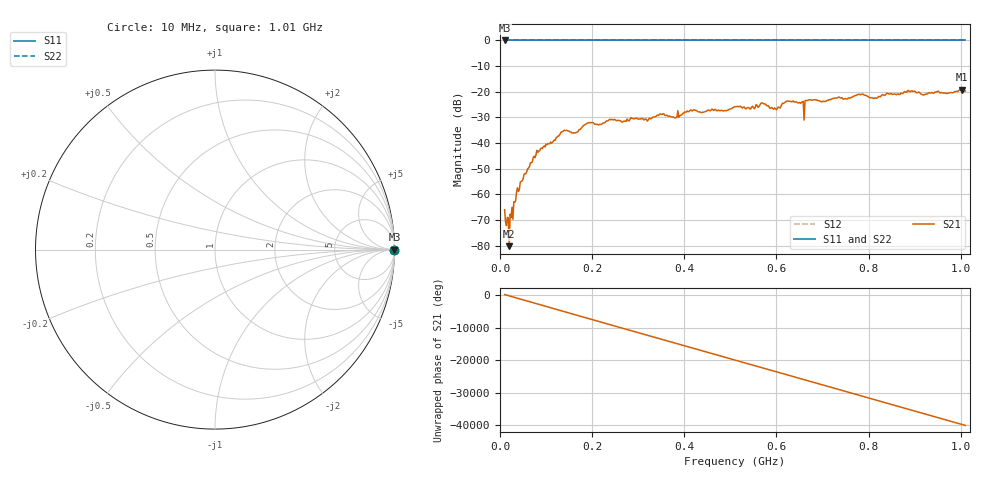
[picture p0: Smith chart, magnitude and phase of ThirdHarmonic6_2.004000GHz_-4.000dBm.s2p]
! 8/17/2025 12:04:13 AM
! C:\ANRITSUVNA\TEMP\TEMP.S2P
! CHANNEL.1
! TR.MEASUREMENT
! RAW.DATA
! RF.CORRECTION.OFF
! AVERAGING.OFF
! IF.BANDWIDTH: 5KHZ
! SWEEPTYPE:  FREQ.SWEEP(Linear)
! Reference Plane Port Info
! PORT:  PORT1  PORT2
! DISTANCE:  0  m  0  m
! TIME:  0  s  0  s
! PHASE.OFFSET:  0  deg.  0  deg.
! LOSS:  0  dB  0  dB
! REF.LOSS:  0  dB  0  dB
! REF.FREQ:  0  Hz  0  Hz
! Power Info
! POWER:  -20  dBm  -20  dBm
! EFF.POWER:  -20  dBm  -20  dBm
! SOURCE.ATTEN:  0  dB  0  dB
! TEST.ATTEN:  0  dB  0  dB
# GHZ S RI R 50.0
! FREQ.GHZ  S11RE  S11IM  S21RE  S21IM  S12RE  S12IM  S22RE  S22IM
!; PortSelection: Port_12
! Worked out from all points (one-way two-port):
!   501 points, 10 MHz to 1.01 GHz, reference 50 ohm
!   highest |S21| = -19.14 dB at 1.002 GHz (marker M1); lowest = -80.2 dB at 20 MHz (marker M2)
!   lowest |S11| = 0.0 dB at 10 MHz (marker M3)
!   |S11| at or under -10 dB: nowhere
!   |S22| runs from 0.0 to 0.0 dB; largest |S21 - S12| = 1.1
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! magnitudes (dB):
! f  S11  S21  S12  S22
! 10 MHz  0.0  -66.0  0.0  0.0
! 16 MHz  0.0  -69.0  0.0  0.0
! 20 MHz  0.0  -80.2  0.0  0.0
! 24 MHz  0.0  -69.1  0.0  0.0
! 26 MHz  0.0  -65.1  0.0  0.0
! 40 MHz  0.0  -58.9  0.0  0.0
! 76 MHz  0.0  -45.7  0.0  0.0
! 136 MHz  0.0  -35.6  0.0  0.0
! 164 MHz  0.0  -35.9  0.0  0.0
! 178 MHz  0.0  -33.9  0.0  0.0
! 344 MHz  0.0  -29.3  0.0  0.0
! 380 MHz  0.0  -30.3  0.0  0.0
! 418 MHz  0.0  -27.4  0.0  0.0
! 510 MHz  0.0  -25.8  0.0  0.0
! 570 MHz  0.0  -24.4  0.0  0.0
! 598 MHz  0.0  -26.6  0.0  0.0
! 624 MHz  0.0  -23.7  0.0  0.0
! 656 MHz  0.0  -23.9  0.0  0.0
! 678 MHz  0.0  -23.3  0.0  0.0
! 844 MHz  0.0  -20.9  0.0  0.0
! 1.002 GHz  0.0  -19.1  0.0  0.0
! 1.01 GHz  0.0  -19.7  0.0  0.0
